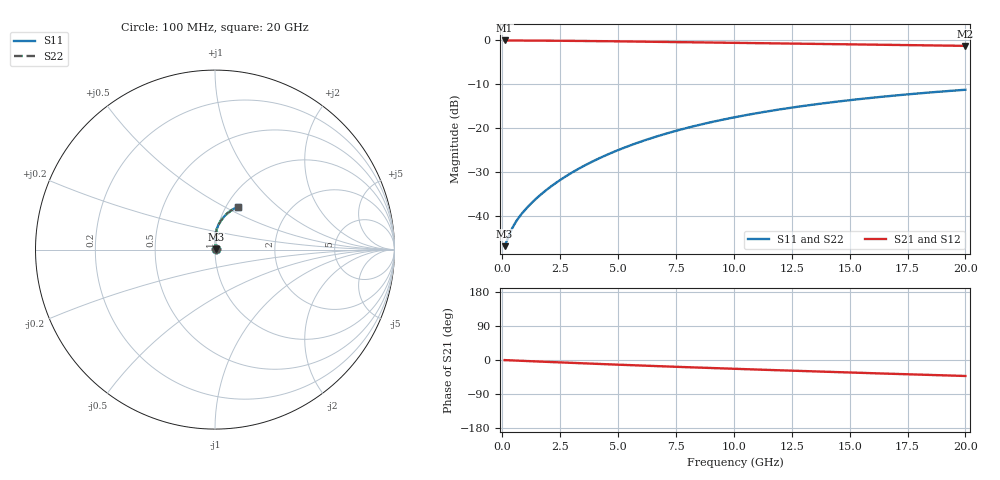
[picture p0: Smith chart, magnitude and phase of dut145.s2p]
! Touchstone file exported from HFSS 2024.1.0
!  File:  C:/UserFiles/LocalFiles/RDL_TSV_Batchsim/temp_RDL_top_145_1778684907.aedt
!  Generated:  11:10:26 PM May 13, 2026
!  Design:  RDL_top
!  Project:  temp_RDL_top_145_1778684907
!  Setup:  Setup1
!  Solution:  Sweep
! Variables:
!  dtsv = 10.80580581um
!  hbump = 3um
!  htsv = 78.11um
!  ldown = 100um
!  lrdl = 673.72um
!  p = 40
!  p1 = 41.87um
!  rhole = 1um
!  t = 450um
!  tdown = 3.915915916um
!  trdl = 2.22um
!  wdown = 15.38538539um
!  wrdl = 27.44um
# GHz S MA R 50.000000
! Terminal data exported
! Port[1] = Box2_T1
! Port[2] = Box2_T2
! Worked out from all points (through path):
!   200 points, 100 MHz to 20 GHz, reference 50 ohm
!   highest |S21| = -0.04 dB at 100 MHz (marker M1); lowest = -1.3 dB at 20 GHz (marker M2)
!   group delay of S21, straight-line fit = 5.79 ps
!   lowest |S11| = -47.0 dB at 100 MHz (marker M3), VSWR 1.01, Z = 50.4 + j0.136 ohm
!   |S11| at or under -10 dB: start of sweep to end of sweep
!   |S22| runs from -47.0 to -11.3 dB; largest |S21 - S12| = 3.3e-15
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0.1  0.004486 17.5  0.9957 -0.3  0.9957 -0.3  0.004486 17.5
! Gamma 0 0 0 0
! Port Impedance 50 0 50 0
0.3  0.006041 38.7  0.9952 -0.8  0.9952 -0.8  0.006041 38.7
0.4  0.006927 44.3  0.9948 -1.1  0.9948 -1.1  0.006928 44.3
0.5  0.007786 48.4  0.9945 -1.3  0.9945 -1.3  0.007786 48.4
0.6  0.008611 51.8  0.9942 -1.6  0.9942 -1.6  0.008611 51.8
0.9  0.01099 59.6  0.9933 -2.4  0.9933 -2.4  0.01099 59.6
1.2  0.01341 65.7  0.9925 -3.1  0.9925 -3.1  0.01341 65.7
1.7  0.01774 73.1  0.9909 -4.4  0.9909 -4.4  0.01774 73.1
2.2  0.02248 78.4  0.9891 -5.6  0.9891 -5.6  0.02248 78.3
2.8  0.0287 82.6  0.9864 -7.1  0.9864 -7.1  0.0287 82.6
3.5  0.03665 85.8  0.9826 -8.8  0.9826 -8.8  0.03665 85.8
4.2  0.04529 87.7  0.9784 -10.5  0.9784 -10.5  0.04529 87.7
5  0.05592 88.7  0.9731 -12.4  0.9731 -12.4  0.05591 88.7
5.9  0.06866 88.8  0.9666 -14.4  0.9666 -14.4  0.06865 88.8
6.8  0.08203 88.2  0.9599 -16.4  0.9599 -16.4  0.08202 88.2
8.4  0.1068 86.0  0.9476 -19.9  0.9476 -19.9  0.1067 86.0
10.1  0.1335 82.7  0.9345 -23.4  0.9345 -23.4  0.1335 82.7
11.7  0.1585 79.3  0.9224 -26.6  0.9224 -26.6  0.1584 79.3
13.4  0.1842 75.6  0.9099 -29.9  0.9099 -29.9  0.1842 75.6
15  0.2075 72.0  0.8984 -33.0  0.8984 -33.0  0.2075 72.0
16.7  0.231 68.3  0.8864 -36.2  0.8864 -36.2  0.231 68.3
20  0.2729 61.5  0.8641 -42.2  0.8641 -42.2  0.2728 61.4
